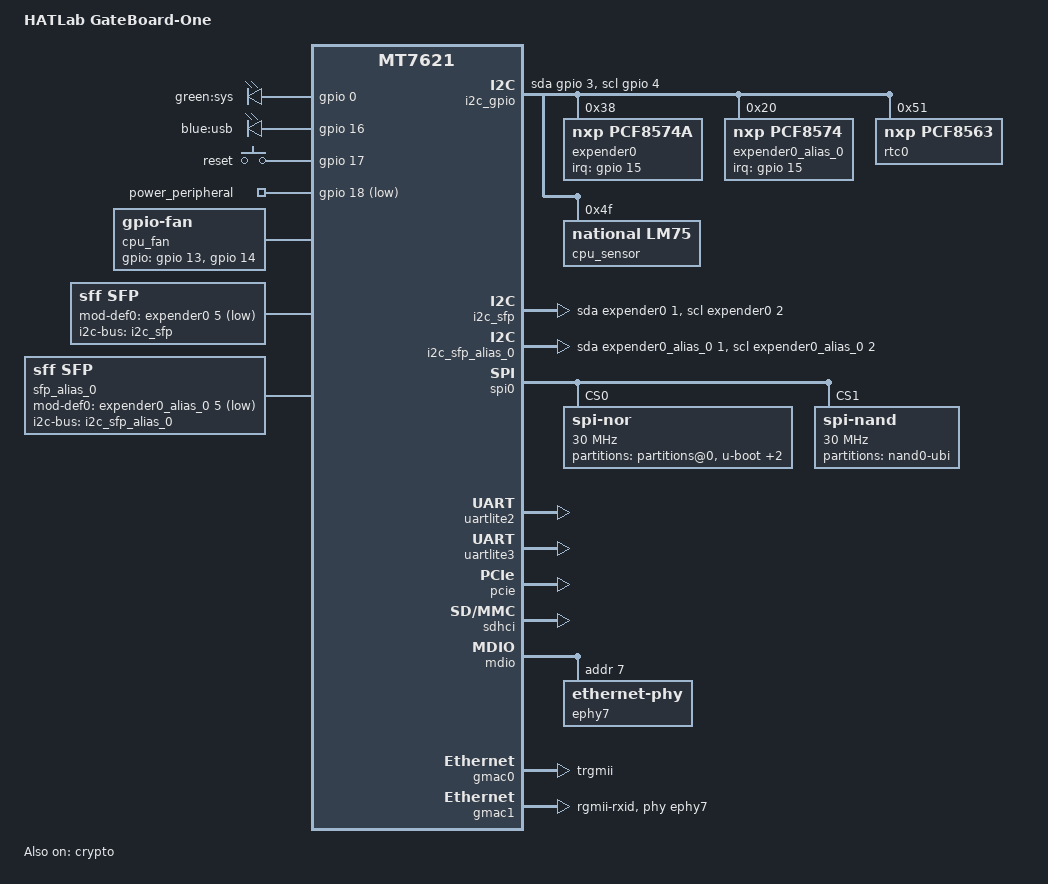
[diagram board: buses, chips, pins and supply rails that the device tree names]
#include "mt7621.dtsi"

#include <dt-bindings/gpio/gpio.h>
#include <dt-bindings/input/input.h>
#include <dt-bindings/thermal/thermal.h>

/ {
	compatible = "hatlab,gateboard-one", "mediatek,mt7621-soc";
	model = "HATLab GateBoard-One";

	chosen {
		bootargs = "console=ttyS0,115200";
	};

	aliases {
		led-boot = &led_sys;
		led-failsafe = &led_sys;
		led-running = &led_sys;
		led-upgrade = &led_sys;
	};

	leds {
		compatible = "gpio-leds";

		led_sys: sys {
			label = "green:sys";
			gpios = <&gpio 0 GPIO_ACTIVE_HIGH>;
		};

		usb {
			label = "blue:usb";
			gpios = <&gpio 16 GPIO_ACTIVE_HIGH>;
			trigger-sources = <&xhci_ehci_port1>;
			linux,default-trigger = "usbport";
		};
	};

	keys {
		compatible = "gpio-keys";

		reset {
			label = "reset";
			gpios = <&gpio 17 GPIO_ACTIVE_HIGH>;
			linux,code = <KEY_RESTART>;
		};
	};

	gpio_export {
		compatible = "gpio-export";
		#size-cells = <0>;

		power_peripheral {
			gpio-export,name = "power_peripheral";
			gpio-export,output = <0>;
			gpios = <&gpio 18 GPIO_ACTIVE_LOW>;
		};
	};

	cpu_fan: cpu_fan {
		compatible = "gpio-fan";
		gpios = <&gpio 13 GPIO_ACTIVE_HIGH
				 &gpio 14 GPIO_ACTIVE_HIGH>;
		gpio-fan,speed-map = <	0		0
								2000	1
								4000	2
								6000	3>;
		#cooling-cells = <2>;
	};

	thermal-zones {
		cpu-thermal {
			polling-delay = <1000>;
			polling-delay-passive = <250>;

			thermal-sensors = <&cpu_sensor>;

			trips {
				cpu_warm: cpu-warm {
					temperature = <26000>;
					hysteresis = <2000>;
					type = "passive";
				};

				cpu_hot: cpu-hot {
					temperature = <37000>;
					hysteresis = <2000>;
					type = "active";
				};

				cpu_alert: cpu-alert {
					temperature = <75000>;
					hysteresis = <2000>;
					type = "hot";
				};
			};

			cooling-maps {
				map0 {
					trip = <&cpu_warm>;
					cooling-device = <&cpu_fan THERMAL_NO_LIMIT 2>;
				};

				map1 {
					trip = <&cpu_hot>;
					cooling-device = <&cpu_fan 3 THERMAL_NO_LIMIT>;
				};
			};
		};
	};

	crypto: crypto@1e004000 {
		status = "okay";

		compatible = "mediatek,mtk-eip93";
		reg = <0x1e004000 0x1000>;

		interrupt-parent = <&gic>;
		interrupts = <GIC_SHARED 19 IRQ_TYPE_LEVEL_HIGH>;
	};
	
	i2c_gpio: i2c-gpio {
		compatible = "i2c-gpio";

		sda-gpios = <&gpio 3 (GPIO_ACTIVE_HIGH | GPIO_OPEN_DRAIN)>;
		scl-gpios = <&gpio 4 (GPIO_ACTIVE_HIGH | GPIO_OPEN_DRAIN)>;

		#address-cells = <1>;
		#size-cells = <0>;

		status = "disabled";
	};

	i2c_sfp: i2c-sfp {
		compatible = "i2c-gpio";

		sda-gpios = <&expender0 1 (GPIO_ACTIVE_HIGH | GPIO_OPEN_DRAIN)>;
		scl-gpios = <&expender0 2 (GPIO_ACTIVE_HIGH | GPIO_OPEN_DRAIN)>;

		#address-cells = <1>;
		#size-cells = <0>;
	};

	i2c_sfp_alias_0: i2c-sfp-alias-0 {
		compatible = "i2c-gpio";

		sda-gpios = <&expender0_alias_0 1 (GPIO_ACTIVE_HIGH | GPIO_OPEN_DRAIN)>;
		scl-gpios = <&expender0_alias_0 2 (GPIO_ACTIVE_HIGH | GPIO_OPEN_DRAIN)>;

		#address-cells = <1>;
		#size-cells = <0>;
	};

	sfp: sfp {
		compatible = "sff,sfp";
		i2c-bus = <&i2c_sfp>;

		maximum-power-milliwatt = <5000>;

		mod-def0-gpios = <&expender0 5 (GPIO_ACTIVE_LOW | GPIO_PULL_UP)>;

		// los-gpios = <&expender0 3 (GPIO_ACTIVE_HIGH | GPIO_PULL_UP)>;
		// rate-select0-gpios = <&expender0 4 GPIO_ACTIVE_HIGH>;
		// tx-disable-gpios = <&expender0 6 GPIO_ACTIVE_HIGH>;
		// tx-fault-gpios = <&expender0 7 (GPIO_ACTIVE_HIGH | GPIO_PULL_UP)>;
	};

	sfp_alias_0: sfp-alias-0 {
		compatible = "sff,sfp";
		i2c-bus = <&i2c_sfp_alias_0>;

		maximum-power-milliwatt = <5000>;

		mod-def0-gpios = <&expender0_alias_0 5 (GPIO_ACTIVE_LOW | GPIO_PULL_UP)>;

		// los-gpios = <&expender0_alias_0 3 (GPIO_ACTIVE_HIGH | GPIO_PULL_UP)>;
		// rate-select0-gpios = <&expender0_alias_0 4 GPIO_ACTIVE_HIGH>;
		// tx-disable-gpios = <&expender0_alias_0 6 GPIO_ACTIVE_HIGH>;
		// tx-fault-gpios = <&expender0_alias_0 7 (GPIO_ACTIVE_HIGH | GPIO_PULL_UP)>;
	};
};

&spi0 {
	status = "okay";

	spi-nor@0 {
		compatible = "jedec,spi-nor";
		reg = <0>;
		spi-max-frequency = <30000000>;

		partitions@0 {
			compatible = "fixed-partitions";
			#address-cells = <1>;
			#size-cells = <1>;

			partition@0 {
				label = "u-boot";
				reg = <0x0 0x70000>;
				read-only;
			};

			partition@70000 {
				label = "u-boot-env";
				reg = <0x70000 0x8000>;
			};

			factory: partition@78000 {
				label = "factory";
				reg = <0x78000 0x8000>;

				nvmem-layout {
					compatible = "fixed-layout";
					#address-cells = <1>;
					#size-cells = <1>;

					macaddr_factory_0: macaddr@0 {
						compatible = "mac-base";
						reg = <0x0 0x6>;
						#nvmem-cell-cells = <1>;
					};
				};
			};
		};
	};

	spi-nand@1 {
		#address-cells = <1>;
		#size-cells = <1>;
		compatible = "spi-nand";
		reg = <1>;
		spi-max-frequency = <30000000>;

		partition@0 {
			label = "nand0-ubi";
			reg = <0x0 0x0>;
		};
	};
};

&uartlite2 {
	status = "okay";
};

&uartlite3 {
	status = "okay";
};

&state_default {
	gpio {
		groups = "wdt", "jtag", "i2c";
		function = "gpio";
	};
};

&pcie {
	status = "okay";
};

&pcie0 {
	mt76@0,0 {
		reg = <0x0000 0 0 0 0>;
		mediatek,eeprom-file = "mt76.pcie0.eeprom";
	};
};

&pcie1 {
	mt76@0,0 {
		reg = <0x0000 0 0 0 0>;
		mediatek,eeprom-file = "mt76.pcie1.eeprom";
	};
};

&pcie2 {
	mt76@0,0 {
		reg = <0x0000 0 0 0 0>;
		mediatek,eeprom-file = "mt76.pcie2.eeprom";
	};
};

&sdhci {
	status = "okay";
	max-frequency = <20000000>;
};

&mdio {
	ephy7: ethernet-phy@7 {
		reg = <7>;
		eee-broken-1000t;
		eee-broken-100tx;
		realtek,autotxid;
	};
};

&gmac0 {
	label = "dsa0";
	nvmem-cells = <&macaddr_factory_0 0>;
	nvmem-cell-names = "mac-address";
	phy-mode = "trgmii";
};

&gmac1 {
	status = "okay";
	label = "eth5";

	nvmem-cells = <&macaddr_factory_0 6>;
	nvmem-cell-names = "mac-address";

	phy-handle = <&ephy7>;
	phy-mode = "rgmii-rxid";
};

&switch0 {
	ports {
		port@0 {
			status = "okay";
			label = "eth0";
			nvmem-cells = <&macaddr_factory_0 1>;
			nvmem-cell-names = "mac-address";
		};

		port@1 {
			status = "okay";
			label = "eth1";
			nvmem-cells = <&macaddr_factory_0 2>;
			nvmem-cell-names = "mac-address";
		};

		port@2 {
			status = "okay";
			label = "eth2";
			nvmem-cells = <&macaddr_factory_0 3>;
			nvmem-cell-names = "mac-address";
		};

		port@3 {
			status = "okay";
			label = "eth3";
			nvmem-cells = <&macaddr_factory_0 4>;
			nvmem-cell-names = "mac-address";
		};

		port@4 {
			status = "okay";
			label = "eth4";
			nvmem-cells = <&macaddr_factory_0 5>;
			nvmem-cell-names = "mac-address";
		};
	};
};

&i2c_gpio {
	status = "okay";

	expender0: pcf8574a@38 {
		compatible = "nxp,pcf8574a";
		reg = <0x38>;
		interrupt-parent = <&gpio>;
		interrupts = <15 IRQ_TYPE_EDGE_FALLING>;
		gpio-controller;
		#gpio-cells = <2>;
		interrupt-controller;
		#interrupt-cells = <2>;
	};

	expender0_alias_0: pcf8574@20 {
		compatible = "nxp,pcf8574";
		reg = <0x20>;
		interrupt-parent = <&gpio>;
		interrupts = <15 IRQ_TYPE_EDGE_FALLING>;
		gpio-controller;
		#gpio-cells = <2>;
		interrupt-controller;
		#interrupt-cells = <2>;
	};

	rtc0: pcf8563@51 {
		compatible = "nxp,pcf8563";
		reg = <0x51>;
	};

	cpu_sensor: lm75@4f {
		compatible = "national,lm75";
		reg = <0x4f>;
		#thermal-sensor-cells = <0>;
	};
};
